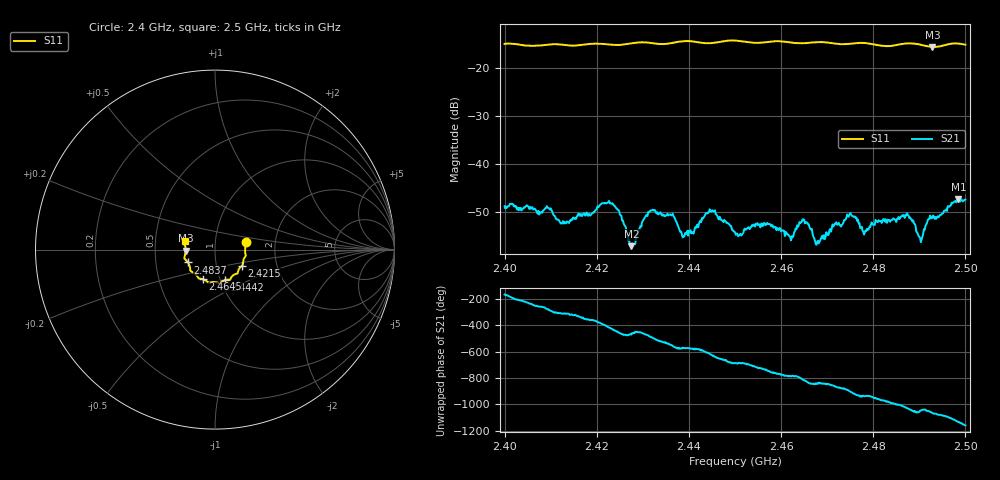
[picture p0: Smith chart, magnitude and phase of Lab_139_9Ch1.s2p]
# Hz S RI R 50
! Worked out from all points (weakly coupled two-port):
!   601 points, 2.4 GHz to 2.5 GHz, reference 50 ohm
!   highest |S21| = -47.25 dB at 2.4985 GHz (marker M1); lowest = -57.0 dB at 2.4275 GHz (marker M2)
!   lowest |S11| = -15.7 dB at 2.4928 GHz (marker M3), VSWR 1.39, Z = 35.9 - j0.374 ohm
!   |S11| at or under -10 dB: start of sweep to end of sweep
!   S12 and S22 are empty: the file has one direction only
!   S11 on the Smith chart (normalised r, x): 2.4 GHz: 1.41, +0.12; 2.4215 GHz: 1.33, -0.25; 2.4442 GHz: 1.05, -0.37; 2.4645 GHz: 0.83, -0.29; 2.4837 GHz: 0.73, -0.11; 2.5 GHz: 0.71, +0.07
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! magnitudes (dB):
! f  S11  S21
! 2.4 GHz  -15.1  -48.7
! 2.4167 GHz  -15.3  -50.4
! 2.4215 GHz  -15.1  -48.1
! 2.4243 GHz  -15.3  -49.2
! 2.4275 GHz  -15.0  -57.0
! 2.4333 GHz  -15.1  -50.4
! 2.439 GHz  -14.5  -55.0
! 2.4442 GHz  -15.0  -50.0
! 2.45 GHz  -14.4  -54.1
! 2.4622 GHz  -14.8  -55.8
! 2.4645 GHz  -15.0  -51.9
! 2.4667 GHz  -14.8  -53.4
! 2.468 GHz  -14.7  -55.9
! 2.4748 GHz  -15.1  -50.4
! 2.4782 GHz  -14.9  -54.1
! 2.4833 GHz  -15.6  -51.6
! 2.4837 GHz  -15.5  -51.9
! 2.4875 GHz  -15.0  -50.6
! 2.4903 GHz  -15.3  -56.2
! 2.4928 GHz  -15.7  -51.2
! 2.4985 GHz  -15.0  -47.2
! 2.5 GHz  -15.3  -47.3
